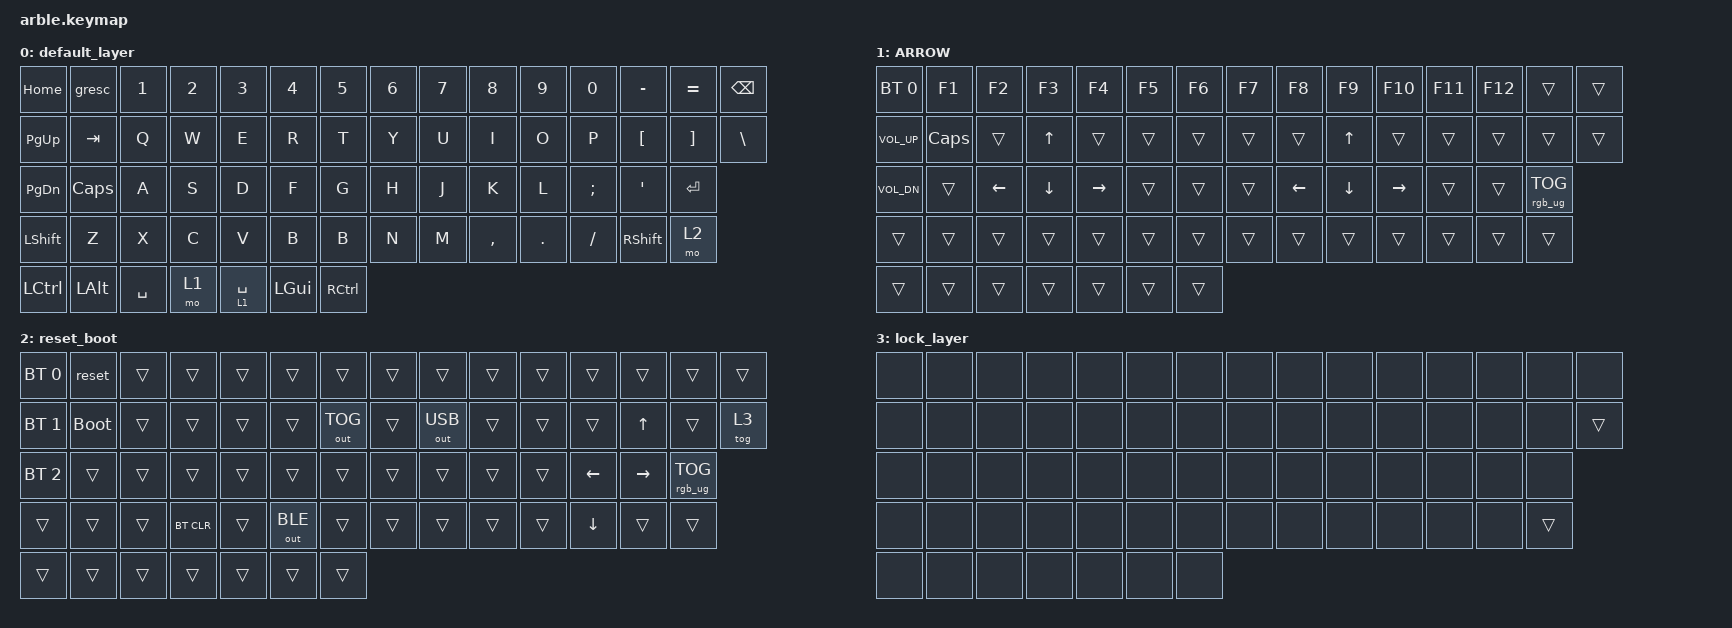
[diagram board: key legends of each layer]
/*
 * Copyright (c) 2021 Nick Winans
 *
 * SPDX-License-Identifier: MIT
 */

#include <behaviors.dtsi>
#include <dt-bindings/zmk/keys.h>
#include <dt-bindings/zmk/bt.h>
#include <dt-bindings/zmk/rgb.h>
#include <dt-bindings/zmk/outputs.h>

/ {
    keymap {
        compatible = "zmk,keymap";

        default_layer {
            bindings = <
    &kp HOME     &gresc     &kp N1  &kp N2       &kp N3    &kp N4     &kp N5  &kp N6  &kp N7     &kp N8   &kp N9    &kp N0  &kp MINUS  &kp EQUAL  &kp BSPC
 &kp PAGE_UP    &kp TAB      &kp Q   &kp W        &kp E     &kp R      &kp T   &kp Y   &kp U      &kp I    &kp O     &kp P   &kp LBKT   &kp RBKT  &kp BSLH  
   &kp PG_DN   &kp CAPS      &kp A   &kp S        &kp D     &kp F      &kp G   &kp H   &kp J      &kp K    &kp L  &kp SEMI    &kp SQT    &kp RET
   &kp LSHFT      &kp Z      &kp X   &kp C        &kp V     &kp B      &kp B   &kp N   &kp M  &kp COMMA  &kp DOT  &kp FSLH  &kp RSHFT      &mo 2
    &kp LCTRL  &kp LALT  &kp SPACE   &mo 1  &lt 1 SPACE  &kp LGUI  &kp RCTRL
            >;
        };

        ARROW {
            bindings = <
 &bt BT_SEL 0    &kp F1    &kp F2    &kp F3     &kp F4  &kp F5  &kp F6    &kp F7    &kp F8  &kp F9    &kp F10  &kp F11  &kp F12           &trans  &trans
 &kp C_VOL_UP  &kp CAPS    &trans    &kp UP     &trans  &trans  &trans    &trans    &trans  &kp UP     &trans   &trans   &trans           &trans  &trans  
 &kp C_VOL_DN    &trans  &kp LEFT  &kp DOWN  &kp RIGHT  &trans  &trans  &trans  &kp LEFT  &kp DOWN  &kp RIGHT   &trans   &trans  &rgb_ug RGB_TOG
       &trans    &trans    &trans    &trans     &trans  &trans  &trans    &trans    &trans  &trans     &trans   &trans   &trans           &trans
       &trans    &trans    &trans    &trans     &trans  &trans  &trans
            >;
        };

        reset_boot {
            bindings = <
 &bt BT_SEL 0       &reset  &trans      &trans  &trans        &trans        &trans  &trans        &trans  &trans  &trans    &trans     &trans           &trans  &trans
 &bt BT_SEL 1  &bootloader  &trans      &trans  &trans        &trans  &out OUT_TOG  &trans  &out OUT_USB  &trans  &trans    &trans     &kp UP           &trans  &tog 3 
 &bt BT_SEL 2       &trans  &trans      &trans  &trans        &trans        &trans  &trans        &trans  &trans  &trans  &kp LEFT  &kp RIGHT  &rgb_ug RGB_TOG
       &trans       &trans  &trans  &bt BT_CLR  &trans  &out OUT_BLE        &trans  &trans        &trans  &trans  &trans  &kp DOWN     &trans           &trans
       &trans       &trans  &trans      &trans  &trans        &trans        &trans
            >;
        };

        lock_layer {
            bindings = <
  &none   &none   &none   &none   &none   &none   &none   &none   &none   &none   &none   &none   &none   &none   &none
  &none   &none   &none   &none   &none   &none   &none   &none   &none   &none   &none   &none   &none   &none  &trans  
  &none   &none   &none   &none   &none   &none   &none   &none   &none   &none   &none   &none   &none   &none
  &none   &none   &none   &none   &none   &none   &none   &none   &none   &none   &none   &none   &none  &trans
  &none   &none   &none   &none   &none   &none   &none
            >;
        };
    };
};
